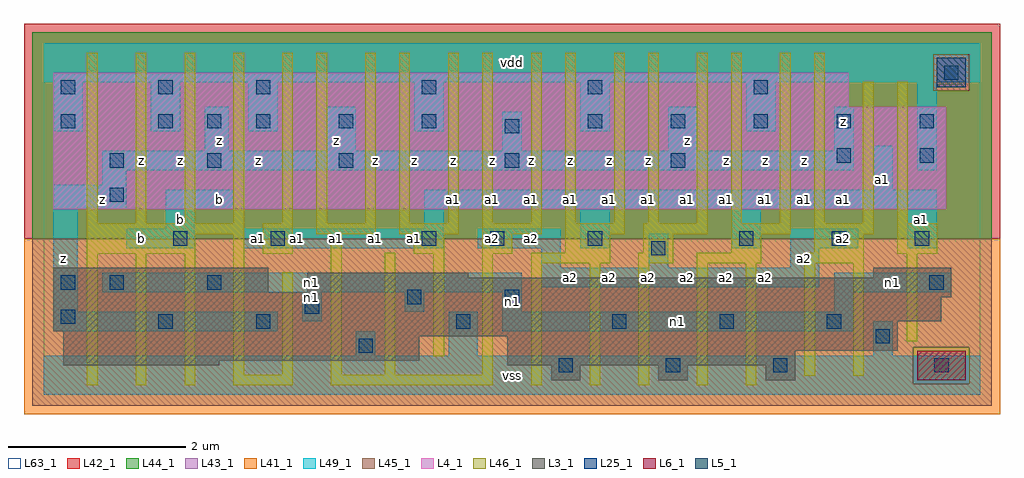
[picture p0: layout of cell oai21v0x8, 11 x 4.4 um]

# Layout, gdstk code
import gdstk
lib = gdstk.Library(unit=1e-6, precision=1e-09)
def R(c, l, rs):  # rectangles x0, y0, x1, y1
    for r in rs: c.add(gdstk.rectangle(r[:2], r[2:], *l))
def A(c, l, x, y, w, h, nx, ny, dx, dy):  # array of equal rectangles
    R(c, l, [(x+i*dx, y+j*dy, x+i*dx+w, y+j*dy+h) for i in range(nx) for j in range(ny)])
L3_1 = (3, 1)
L4_1 = (4, 1)
L5_1 = (5, 1)
L6_1 = (6, 1)
L25_1 = (25, 1)
L41_1 = (41, 1)
L42_1 = (42, 1)
L43_1 = (43, 1)
L44_1 = (44, 1)
L45_1 = (45, 1)
L46_1 = (46, 1)
L49_1 = (49, 1)
L63_1 = (63, 1)

oai21v0x8 = lib.new_cell('oai21v0x8')
A(oai21v0x8, L3_1, 5.72, 0.165, 0.33, 0.165, 3, 1, 1.21, 0)
R(oai21v0x8, L3_1, [(0.22,0.33,1.98,0.385), (5.225,0.33,8.47,0.495), (0.22,0.385,4.235,0.66), (5.225,0.495,9.625,0.66), (0.22,0.66,9.625,0.715), (0.11,0.715,9.625,0.825), (0.11,0.825,10.12,1.1), (0.11,1.1,10.23,1.155), (0.11,1.155,2.53,1.43), (2.97,1.155,10.23,1.32), (2.97,1.32,4.785,1.375), (9.35,1.32,10.23,1.43)])
R(oai21v0x8, L4_1, [(0.11,2.09,10.175,3.245), (0.11,3.245,9.075,3.63)])
R(oai21v0x8, L5_1, [(10.065,3.465,10.395,3.795)])
R(oai21v0x8, L6_1, [(9.845,0.165,10.395,0.495)])
A(oai21v0x8, L25_1, 5.805, 0.25, 0.16, 0.16, 3, 1, 1.21, 0)
A(oai21v0x8, L25_1, 6.41, 0.745, 0.16, 0.16, 3, 1, 1.21, 0)
A(oai21v0x8, L25_1, 3.33, 2.56, 0.16, 0.16, 3, 1, 1.87, 0)
A(oai21v0x8, L25_1, 1.295, 3, 0.16, 0.16, 3, 1, 0.55, 0)
A(oai21v0x8, L25_1, 6.135, 3, 0.16, 0.16, 5, 1, 0.935, 0)
A(oai21v0x8, L25_1, 0.195, 3.385, 0.16, 0.16, 3, 1, 1.1, 0)
A(oai21v0x8, L25_1, 4.265, 3.385, 0.16, 0.16, 3, 1, 1.87, 0)
R(oai21v0x8, L25_1, [(10.04,0.25,10.2,0.41), (3.55,0.47,3.71,0.63), (9.38,0.58,9.54,0.74), (1.295,0.745,1.455,0.905), (2.395,0.745,2.555,0.905), (4.65,0.745,4.81,0.905), (0.195,0.8,0.355,0.96), (2.945,0.91,3.105,1.07), (4.1,1.02,4.26,1.18), (5.2,1.02,5.36,1.18), (0.195,1.185,0.355,1.345), (0.745,1.185,0.905,1.345), (1.845,1.185,2.005,1.345), (9.985,1.185,10.145,1.345), (6.85,1.57,7.01,1.73), (1.46,1.68,1.62,1.84), (2.56,1.68,2.72,1.84), (4.265,1.68,4.425,1.84), (5.035,1.68,5.195,1.84), (6.135,1.68,6.295,1.84), (7.84,1.68,8,1.84), (8.885,1.68,9.045,1.84), (9.82,1.68,9.98,1.84), (0.745,2.175,0.905,2.335), (0.745,2.56,0.905,2.72), (1.845,2.56,2.005,2.72), (8.94,2.615,9.1,2.775), (9.875,2.615,10.035,2.775), (5.2,2.945,5.36,3.105), (0.195,3,0.355,3.16), (3.33,3,3.49,3.16), (4.265,3,4.425,3.16), (10.15,3.55,10.31,3.71)])
R(oai21v0x8, L41_1, [(-0.22,-0.22,10.78,1.76)])
R(oai21v0x8, L42_1, [(-0.22,1.76,10.78,4.18)])
A(oai21v0x8, L43_1, 5.72, 0.165, 0.33, 0.165, 3, 1, 1.21, 0)
R(oai21v0x8, L43_1, [(9.845,0.165,10.395,0.495), (0.22,0.33,1.98,0.385), (5.225,0.33,8.47,0.495), (0.22,0.385,4.235,0.66), (5.225,0.495,9.625,0.66), (0.22,0.66,9.625,0.715), (0.11,0.715,9.625,0.825), (0.11,0.825,10.12,1.1), (0.11,1.1,10.23,1.155), (0.11,1.155,2.53,1.43), (2.97,1.155,10.23,1.32), (2.97,1.32,4.785,1.375), (9.35,1.32,10.23,1.43), (0.11,2.09,10.175,3.245), (0.11,3.245,9.075,3.63), (10.065,3.465,10.395,3.795)])
R(oai21v0x8, L44_1, [(9.805,0.125,10.435,0.535), (-0.125,1.76,10.685,3.425), (-0.125,3.425,10.025,3.835), (10.435,3.425,10.685,3.835), (-0.125,3.835,10.685,4.085)])
R(oai21v0x8, L45_1, [(-0.125,-0.125,10.685,0.125), (-0.125,0.125,9.805,0.535), (10.435,0.125,10.685,0.535), (-0.125,0.535,10.685,1.76), (10.025,3.425,10.435,3.835)])
A(oai21v0x8, L46_1, 0.49, 0.105, 0.12, 1.485, 3, 1, 0.55, 0)
A(oai21v0x8, L46_1, 3.075, 1.81, 0.67, 0.12, 4, 1, 0.935, 0)
A(oai21v0x8, L46_1, 0.49, 1.93, 0.12, 1.925, 5, 1, 0.55, 0)
R(oai21v0x8, L46_1, [(2.14,0.105,2.81,0.225), (3.24,0.105,5.065,0.225), (5.495,0.105,5.615,1.48), (6.155,0.105,6.275,1.48), (6.705,0.105,6.825,1.48), (7.365,0.105,7.485,1.48), (7.915,0.105,8.035,1.48), (8.575,0.215,8.695,1.48), (9.125,0.215,9.245,1.48), (2.14,0.225,2.26,1.81), (2.69,0.225,2.81,1.38), (3.24,0.225,3.36,1.81), (3.845,0.225,3.965,1.6), (4.945,0.225,5.065,1.59), (4.395,0.435,4.515,1.59), (9.73,0.6,9.85,1.59), (5.495,1.48,6.385,1.6), (6.705,1.48,7.1,1.6), (7.365,1.48,8.09,1.6), (8.575,1.48,9.245,1.6), (0.49,1.59,1.71,1.81), (2.47,1.59,2.81,1.93), (4.175,1.59,4.515,1.81), (4.945,1.59,5.285,1.81), (9.62,1.59,10.07,1.93), (5.88,1.6,6.385,1.81), (6.76,1.6,7.1,1.81), (7.75,1.6,8.09,1.81), (8.685,1.6,9.245,1.81), (0.49,1.81,2.26,1.93), (6.76,1.81,7.485,1.93), (7.75,1.81,8.42,1.93), (8.685,1.81,9.355,1.93), (3.075,1.93,3.195,3.855), (3.625,1.93,3.745,3.855), (4.01,1.93,4.13,3.855), (4.56,1.93,4.68,3.855), (4.945,1.93,5.065,3.855), (5.495,1.93,5.615,3.855), (5.88,1.93,6,3.855), (6.43,1.93,6.55,3.855), (6.815,1.93,6.935,3.855), (7.365,1.93,7.485,3.855), (7.75,1.93,7.87,3.855), (8.3,1.93,8.42,3.855), (8.685,1.93,8.805,3.855), (9.235,1.93,9.355,3.525), (9.62,1.93,9.74,3.525)])
A(oai21v0x8, L49_1, 0.11, 2.97, 0.33, 0.55, 3, 1, 1.1, 0)
A(oai21v0x8, L49_1, 4.18, 2.97, 0.33, 0.55, 3, 1, 1.87, 0)
R(oai21v0x8, L49_1, [(0,0,10.56,0.44), (3.52,0.44,3.74,0.715), (4.565,0.44,4.895,0.935), (9.35,0.44,9.57,0.825), (0.11,0.715,2.64,0.935), (5.17,0.715,9.13,0.935), (2.915,0.825,3.135,1.155), (0.11,0.935,0.385,2.09), (4.07,0.935,4.29,1.155), (5.17,0.935,5.39,1.155), (8.91,0.935,9.13,1.155), (0.66,1.155,5.39,1.375), (8.91,1.155,10.23,1.375), (5.61,1.21,8.745,1.43), (5.61,1.43,5.83,1.65), (6.82,1.43,7.04,1.815), (8.415,1.43,8.745,1.65), (0.935,1.65,1.705,1.87), (2.255,1.65,4.51,1.87), (4.895,1.65,5.83,1.87), (6.05,1.65,6.38,2.09), (7.755,1.65,8.085,2.09), (8.415,1.65,9.185,1.87), (9.735,1.65,10.065,2.09), (1.375,1.87,1.705,2.09), (4.29,1.87,4.51,2.09), (0.11,2.09,0.935,2.365), (1.375,2.09,2.145,2.31), (4.29,2.09,10.065,2.31), (9.35,2.31,9.57,2.805), (0.66,2.365,0.935,2.53), (0.66,2.53,9.13,2.75), (9.845,2.53,10.065,3.52), (1.815,2.75,2.09,3.245), (3.19,2.75,3.52,3.245), (5.17,2.75,5.39,3.19), (7.04,2.75,7.37,3.245), (8.91,2.75,9.13,3.245), (0,3.52,10.56,3.96)])
R(oai21v0x8, L63_1, [(0,0,10.56,3.96)])
oai21v0x8.add(gdstk.Label('z', (0.22,1.54), layer=49, texttype=1))
oai21v0x8.add(gdstk.Label('b', (1.1,1.76), layer=49, texttype=1))
oai21v0x8.add(gdstk.Label('z', (0.66,2.2), layer=49, texttype=1))
oai21v0x8.add(gdstk.Label('z', (1.1,2.64), layer=49, texttype=1))
oai21v0x8.add(gdstk.Label('n1', (3.025,1.1), layer=49, texttype=1))
oai21v0x8.add(gdstk.Label('a1', (3.3,1.76), layer=49, texttype=1))
oai21v0x8.add(gdstk.Label('a1', (2.86,1.76), layer=49, texttype=1))
oai21v0x8.add(gdstk.Label('a1', (2.42,1.76), layer=49, texttype=1))
oai21v0x8.add(gdstk.Label('b', (1.98,2.2), layer=49, texttype=1))
oai21v0x8.add(gdstk.Label('b', (1.54,1.98), layer=49, texttype=1))
oai21v0x8.add(gdstk.Label('z', (3.3,2.86), layer=49, texttype=1))
oai21v0x8.add(gdstk.Label('z', (2.42,2.64), layer=49, texttype=1))
oai21v0x8.add(gdstk.Label('z', (1.98,2.86), layer=49, texttype=1))
oai21v0x8.add(gdstk.Label('z', (1.54,2.64), layer=49, texttype=1))
oai21v0x8.add(gdstk.Label('a2', (5.06,1.76), layer=49, texttype=1))
oai21v0x8.add(gdstk.Label('a1', (4.18,1.76), layer=49, texttype=1))
oai21v0x8.add(gdstk.Label('a1', (3.74,1.76), layer=49, texttype=1))
oai21v0x8.add(gdstk.Label('a1', (5.06,2.2), layer=49, texttype=1))
oai21v0x8.add(gdstk.Label('a1', (4.62,2.2), layer=49, texttype=1))
oai21v0x8.add(gdstk.Label('z', (5.06,2.64), layer=49, texttype=1))
oai21v0x8.add(gdstk.Label('z', (4.62,2.64), layer=49, texttype=1))
oai21v0x8.add(gdstk.Label('z', (4.18,2.64), layer=49, texttype=1))
oai21v0x8.add(gdstk.Label('z', (3.74,2.64), layer=49, texttype=1))
oai21v0x8.add(gdstk.Label('vss', (5.28,0.22), layer=49, texttype=1))
oai21v0x8.add(gdstk.Label('a2', (6.82,1.32), layer=49, texttype=1))
oai21v0x8.add(gdstk.Label('a2', (6.38,1.32), layer=49, texttype=1))
oai21v0x8.add(gdstk.Label('a2', (5.94,1.32), layer=49, texttype=1))
oai21v0x8.add(gdstk.Label('n1', (3.025,1.265), layer=49, texttype=1))
oai21v0x8.add(gdstk.Label('n1', (5.28,1.045), layer=49, texttype=1))
oai21v0x8.add(gdstk.Label('a2', (5.5,1.76), layer=49, texttype=1))
oai21v0x8.add(gdstk.Label('a1', (6.82,2.2), layer=49, texttype=1))
oai21v0x8.add(gdstk.Label('a1', (6.38,2.2), layer=49, texttype=1))
oai21v0x8.add(gdstk.Label('a1', (5.94,2.2), layer=49, texttype=1))
oai21v0x8.add(gdstk.Label('a1', (5.5,2.2), layer=49, texttype=1))
oai21v0x8.add(gdstk.Label('z', (6.82,2.64), layer=49, texttype=1))
oai21v0x8.add(gdstk.Label('z', (6.38,2.64), layer=49, texttype=1))
oai21v0x8.add(gdstk.Label('z', (5.94,2.64), layer=49, texttype=1))
oai21v0x8.add(gdstk.Label('z', (5.5,2.64), layer=49, texttype=1))
oai21v0x8.add(gdstk.Label('vdd', (5.28,3.74), layer=49, texttype=1))
oai21v0x8.add(gdstk.Label('a2', (8.58,1.54), layer=49, texttype=1))
oai21v0x8.add(gdstk.Label('a2', (8.14,1.32), layer=49, texttype=1))
oai21v0x8.add(gdstk.Label('a2', (7.7,1.32), layer=49, texttype=1))
oai21v0x8.add(gdstk.Label('a2', (7.26,1.32), layer=49, texttype=1))
oai21v0x8.add(gdstk.Label('a1', (8.58,2.2), layer=49, texttype=1))
oai21v0x8.add(gdstk.Label('a1', (8.14,2.2), layer=49, texttype=1))
oai21v0x8.add(gdstk.Label('a1', (7.7,2.2), layer=49, texttype=1))
oai21v0x8.add(gdstk.Label('a1', (7.26,2.2), layer=49, texttype=1))
oai21v0x8.add(gdstk.Label('z', (8.58,2.64), layer=49, texttype=1))
oai21v0x8.add(gdstk.Label('z', (8.14,2.64), layer=49, texttype=1))
oai21v0x8.add(gdstk.Label('z', (7.7,2.64), layer=49, texttype=1))
oai21v0x8.add(gdstk.Label('z', (7.26,2.86), layer=49, texttype=1))
oai21v0x8.add(gdstk.Label('n1', (7.15,0.825), layer=49, texttype=1))
oai21v0x8.add(gdstk.Label('n1', (9.57,1.265), layer=49, texttype=1))
oai21v0x8.add(gdstk.Label('a2', (9.02,1.76), layer=49, texttype=1))
oai21v0x8.add(gdstk.Label('a1', (9.9,1.98), layer=49, texttype=1))
oai21v0x8.add(gdstk.Label('a1', (9.02,2.2), layer=49, texttype=1))
oai21v0x8.add(gdstk.Label('a1', (9.46,2.42), layer=49, texttype=1))
oai21v0x8.add(gdstk.Label('z', (9.02,3.08), layer=49, texttype=1))

lib.write_gds('oai21v0x8.gds')
